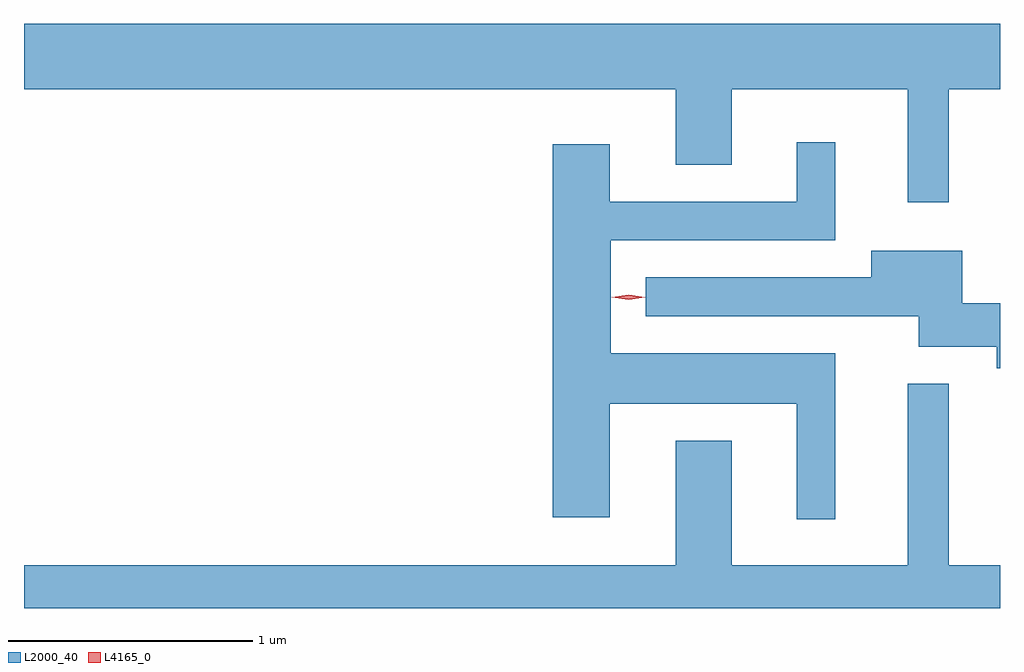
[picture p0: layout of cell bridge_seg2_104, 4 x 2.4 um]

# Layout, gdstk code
import gdstk
lib = gdstk.Library(unit=1e-6, precision=1e-09)
def P(c, l, *ps):  # polygons
    for p in ps: c.add(gdstk.Polygon(p, *l))
L2000_40 = (2000, 40)
L4165_0 = (4165, 0)

bridge_seg2_104 = lib.new_cell('bridge_seg2_104')
P(bridge_seg2_104, L2000_40, [(882.919,1077.176),(883.129,1077.176),(883.129,1077.444),(879.129,1077.444),(879.129,1077.176),(881.801,1077.176),(881.801,1076.866),(882.029,1076.866),(882.029,1077.176),(882.751,1077.176),(882.751,1076.713),(882.919,1076.713)],
  [(882.454,1076.094),(881.534,1076.094),(881.534,1076.556),(882.454,1076.556),(882.454,1076.958),(882.296,1076.958),(882.296,1076.714),(881.529,1076.714),(881.529,1076.949),(881.296,1076.949),(881.296,1075.421),(881.529,1075.421),(881.529,1075.886),(882.296,1075.886),(882.296,1075.413),(882.454,1075.413)],
  [(883.129,1076.299),(882.974,1076.299),(882.974,1076.514),(882.601,1076.514),(882.601,1076.404),(881.678,1076.404),(881.678,1076.246),(882.796,1076.246),(882.796,1076.121),(883.116,1076.121),(883.116,1076.031),(883.129,1076.031)],
  [(883.129,1075.224),(882.919,1075.224),(882.919,1075.968),(882.751,1075.968),(882.751,1075.224),(882.029,1075.224),(882.029,1075.734),(881.801,1075.734),(881.801,1075.224),(879.129,1075.224),(879.129,1075.048),(883.129,1075.048)])
P(bridge_seg2_104, L4165_0, [(881.607,1076.313),(881.538,1076.322),(881.537,1076.323),(881.538,1076.323),(881.607,1076.333),(881.676,1076.323),(881.676,1076.323),(881.676,1076.322)],
  [(881.607,1076.313),(881.541,1076.322),(881.54,1076.323),(881.541,1076.323),(881.607,1076.333),(881.672,1076.323),(881.673,1076.323),(881.672,1076.322)])

lib.write_gds('bridge_seg2_104.gds')
